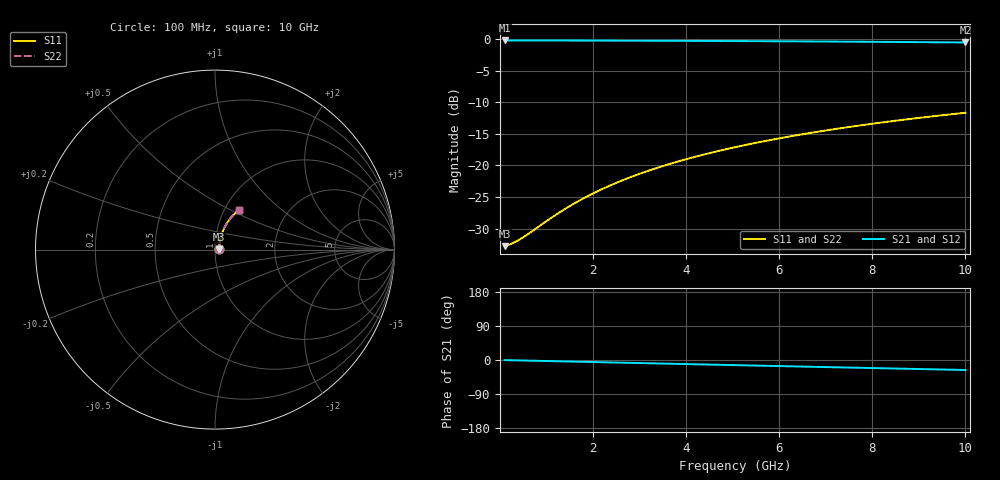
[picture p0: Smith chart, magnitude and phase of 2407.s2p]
# Hz S RI R 50.00
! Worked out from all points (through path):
!   100 points, 100 MHz to 10 GHz, reference 50 ohm
!   highest |S21| = -0.20 dB at 100 MHz (marker M1); lowest = -0.5 dB at 10 GHz (marker M2)
!   group delay of S21, straight-line fit = 7.33 ps
!   lowest |S11| = -32.8 dB at 100 MHz (marker M3), VSWR 1.05, Z = 52.3 + j0.278 ohm
!   |S11| at or under -10 dB: start of sweep to end of sweep
!   |S22| runs from -32.8 to -11.7 dB; largest |S21 - S12| = 0
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1e8  0.0228 0.00266  0.9772 -0.00461  0.9772 -0.00461  0.0228 0.00266
2e8  0.023 0.00532  0.977 -0.00921  0.977 -0.00921  0.023 0.00532
3e8  0.0231 0.00797  0.9769 -0.0138  0.9769 -0.0138  0.0231 0.00797
4e8  0.0233 0.0106  0.9767 -0.0184  0.9767 -0.0184  0.0233 0.0106
6e8  0.0237 0.0159  0.9762 -0.0276  0.9762 -0.0276  0.0237 0.0159
1e9  0.0247 0.0265  0.9751 -0.046  0.9751 -0.046  0.0247 0.0265
1.3e9  0.0257 0.0344  0.974 -0.0597  0.974 -0.0597  0.0257 0.0344
1.5e9  0.0265 0.0396  0.9731 -0.0688  0.9731 -0.0688  0.0265 0.0396
1.8e9  0.0278 0.0475  0.9716 -0.0825  0.9716 -0.0825  0.0278 0.0475
2.1e9  0.0293 0.0552  0.9698 -0.0961  0.9698 -0.0961  0.0293 0.0552
2.5e9  0.0317 0.0655  0.9671 -0.1142  0.9671 -0.1142  0.0317 0.0655
2.9e9  0.0345 0.0757  0.9639 -0.1322  0.9639 -0.1322  0.0345 0.0757
3.4e9  0.0384 0.0883  0.9593 -0.1545  0.9593 -0.1545  0.0384 0.0883
3.8e9  0.042 0.0981  0.9552 -0.1721  0.9552 -0.1721  0.042 0.0981
4.2e9  0.0459 0.1079  0.9506 -0.1897  0.9506 -0.1897  0.0459 0.1079
4.6e9  0.0502 0.1174  0.9457 -0.207  0.9457 -0.207  0.0502 0.1174
5.1e9  0.056 0.129  0.9389 -0.2284  0.9389 -0.2284  0.056 0.129
5.9e9  0.0664 0.147  0.9268 -0.262  0.9268 -0.262  0.0664 0.147
6.7e9  0.078 0.164  0.9133 -0.2946  0.9133 -0.2946  0.078 0.164
7.5e9  0.0907 0.18  0.8983 -0.3263  0.8983 -0.3263  0.0907 0.18
8.4e9  0.1062 0.1968  0.88 -0.3607  0.88 -0.3607  0.1062 0.1968
1e10  0.1364 0.2228  0.844 -0.4181  0.844 -0.4181  0.1364 0.2228
